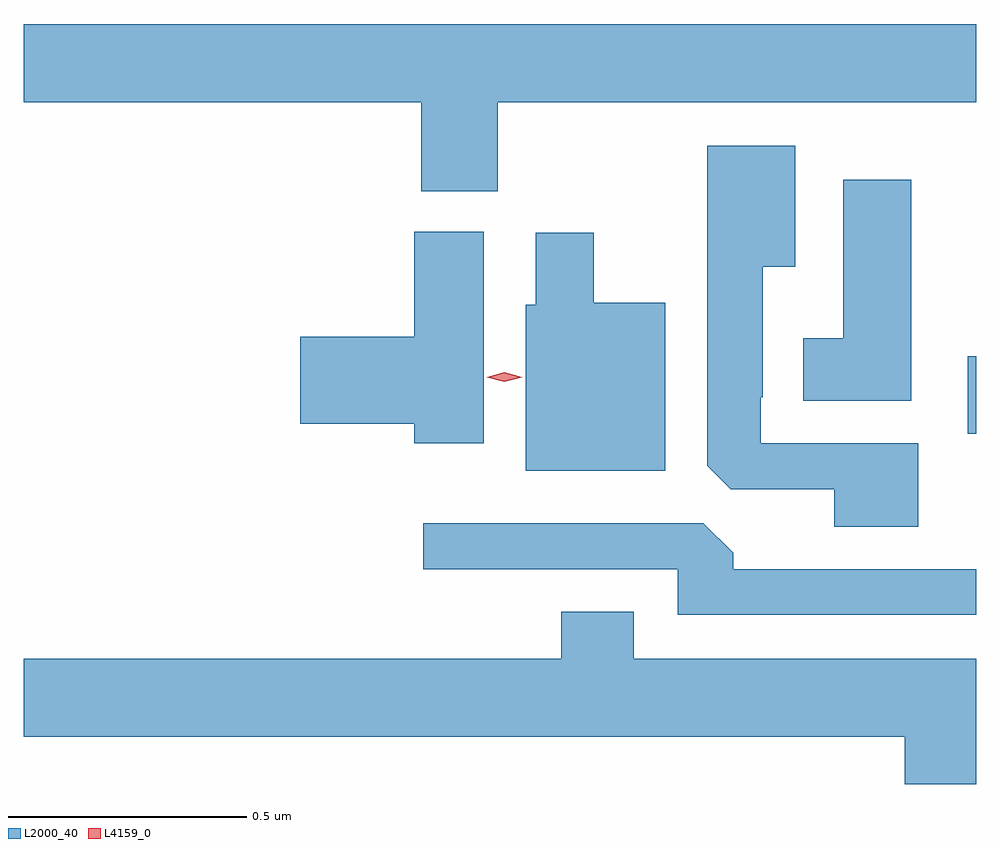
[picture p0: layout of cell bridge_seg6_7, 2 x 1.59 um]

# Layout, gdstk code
import gdstk
lib = gdstk.Library(unit=1e-6, precision=1e-09)
def R(c, l, rs):  # rectangles x0, y0, x1, y1
    for r in rs: c.add(gdstk.rectangle(r[:2], r[2:], *l))
def P(c, l, *ps):  # polygons
    for p in ps: c.add(gdstk.Polygon(p, *l))
L2000_40 = (2000, 40)
L4159_0 = (4159, 0)

bridge_seg6_7 = lib.new_cell('bridge_seg6_7')
R(bridge_seg6_7, L2000_40, [(929.082,950.636,929.1,950.799)])
P(bridge_seg6_7, L2000_40, [(928.095,951.332),(929.1,951.332),(929.1,951.496),(927.1,951.496),(927.1,951.332),(927.935,951.332),(927.935,951.145),(928.095,951.145)],
  [(928.978,950.616),(928.647,950.616),(928.647,950.713),(928.651,950.713),(928.651,950.987),(928.72,950.987),(928.72,951.241),(928.535,951.241),(928.535,950.569),(928.584,950.52),(928.802,950.52),(928.802,950.441),(928.978,950.441)],
  [(928.963,951.169),(928.82,951.169),(928.82,950.836),(928.736,950.836),(928.736,950.705),(928.963,950.705)],
  [(928.066,951.06),(927.92,951.06),(927.92,950.84),(927.681,950.84),(927.681,950.657),(927.92,950.657),(927.92,950.616),(928.066,950.616)],
  [(928.447,950.911),(928.297,950.911),(928.297,951.058),(928.175,951.058),(928.175,950.907),(928.154,950.907),(928.154,950.558),(928.447,950.558)],
  [(929.1,950.352),(928.589,950.352),(928.589,950.386),(928.527,950.448),(927.939,950.448),(927.939,950.352),(928.473,950.352),(928.473,950.256),(929.1,950.256)],
  [(929.1,950.164),(928.381,950.164),(928.381,950.263),(928.229,950.263),(928.229,950.164),(927.1,950.164),(927.1,950),(928.949,950),(928.949,949.901),(929.1,949.901)])
P(bridge_seg6_7, L4159_0, [(928.109,950.745),(928.072,950.755),(928.072,950.755),(928.072,950.755),(928.109,950.765),(928.147,950.755),(928.147,950.755),(928.147,950.755)])

lib.write_gds('bridge_seg6_7.gds')
